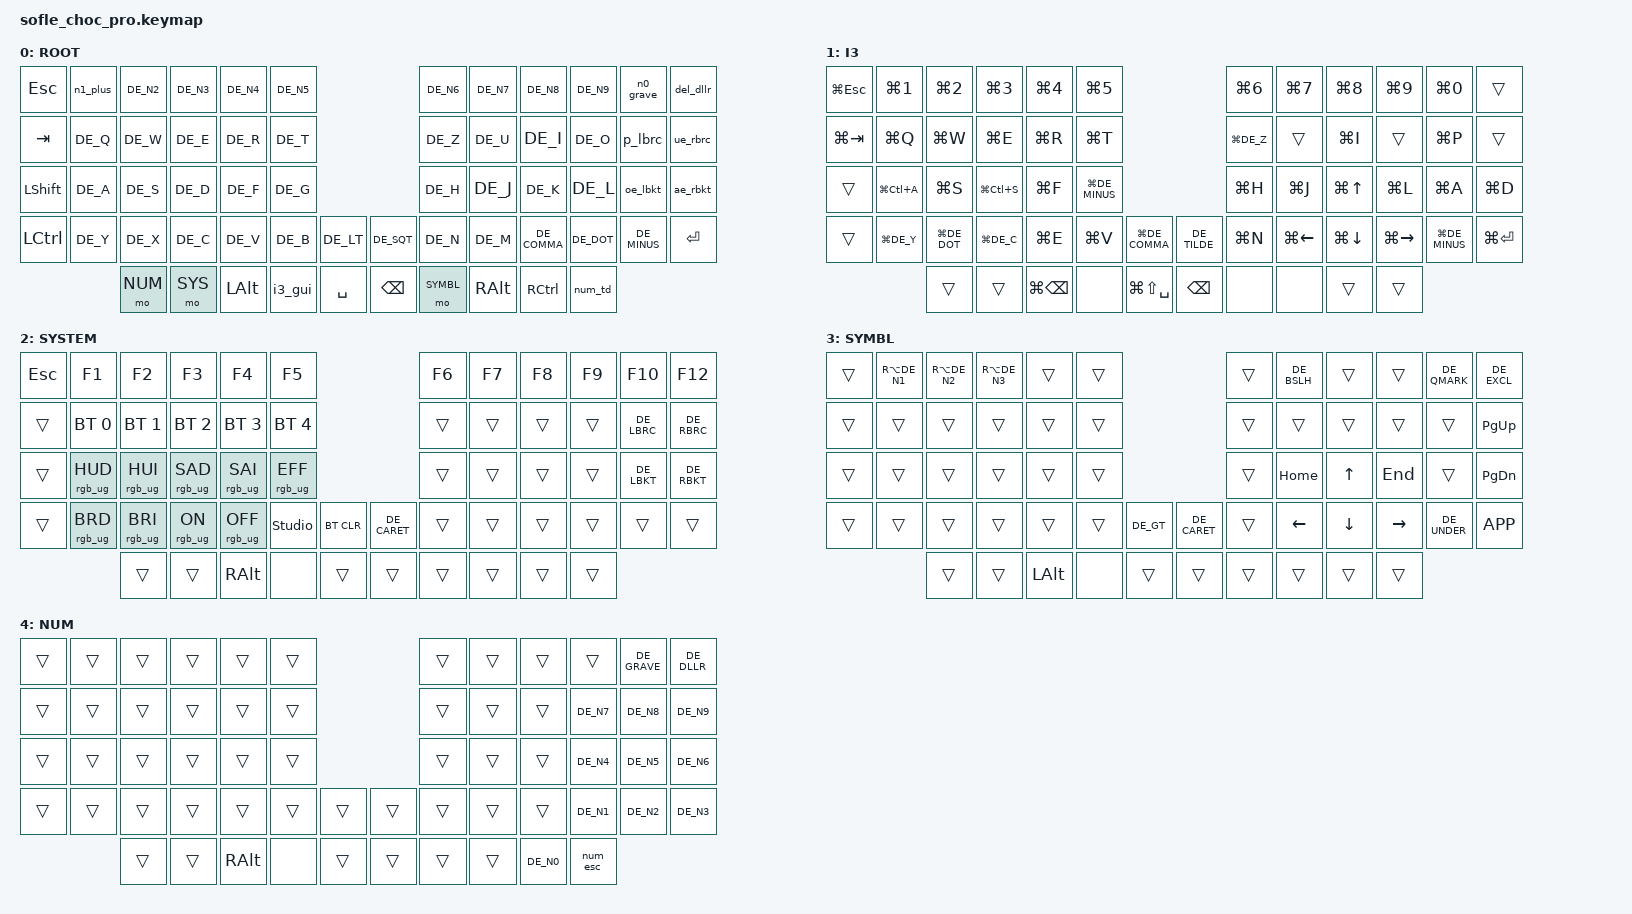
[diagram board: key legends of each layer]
/*
 * Copyright (c) 2020 The ZMK Contributors
 *
 * SPDX-License-Identifier: MIT
 */

#include <behaviors.dtsi>
#include <dt-bindings/zmk/keys.h>
#include <dt-bindings/zmk/bt.h>
#include <dt-bindings/zmk/modifiers.h>
#include <dt-bindings/zmk/rgb.h>
#include <dt-bindings/zmk/ext_power.h>
#include "ch-de.h"

#define ROOT            0
#define I3              1
#define SYS             2
#define SYMBL           3
#define NUM             4

/ {

        behaviors {

                n1_plus: number_1_plus {
                        compatible = "zmk,behavior-mod-morph";
                        #binding-cells = <0>;
                        bindings = <&kp DE_N1>, <&kp KP_PLUS>;
                        mods = <(MOD_LSFT|MOD_RSFT)>;
                };

                n0_grave: number_0_grave {
                        compatible = "zmk,behavior-mod-morph";
                        #binding-cells = <0>;
                        bindings = <&kp DE_N0>, <&kp DE_GRAVE>;
                        mods = <(MOD_RALT)>;
                };

                del_dllr: delete_dollar {
                        compatible = "zmk,behavior-mod-morph";
                        #binding-cells = <0>;
                        bindings = <&kp DEL>, <&kp DE_DLLR>;
                        mods = <(MOD_RALT)>;
                };
                
                p_lbrc: p_left_brace {
                        compatible = "zmk,behavior-mod-morph";
                        #binding-cells = <0>;
                        bindings = <&kp DE_P>, <&kp DE_LBRC>;
                        mods = <(MOD_RALT)>;
                };

                // Shift produces a capital umlaut. CH-DE has no direct Shift
                // capital umlaut, so toggle Caps Lock around the umlaut key.
                // (mod-morph masks the triggering Shift, so the macro is clean.)
                ue_cap: ue_capital {
                        compatible = "zmk,behavior-mod-morph";
                        #binding-cells = <0>;
                        bindings = <&kp DE_U_UMLAUT>, <&ue_cap_macro>;
                        mods = <(MOD_LSFT|MOD_RSFT)>;
                };

                ue_rbrc: ue_right_brace {
                        compatible = "zmk,behavior-mod-morph";
                        #binding-cells = <0>;
                        bindings = <&ue_cap>, <&kp DE_RBRC>;
                        mods = <(MOD_RALT)>;
                };

                oe_cap: oe_capital {
                        compatible = "zmk,behavior-mod-morph";
                        #binding-cells = <0>;
                        bindings = <&kp DE_O_UMLAUT>, <&oe_cap_macro>;
                        mods = <(MOD_LSFT|MOD_RSFT)>;
                };

                oe_lbkt: oe_left_bracket {
                        compatible = "zmk,behavior-mod-morph";
                        #binding-cells = <0>;
                        bindings = <&oe_cap>, <&kp DE_LBKT>;
                        mods = <(MOD_RALT)>;
                };

                ae_cap: ae_capital {
                        compatible = "zmk,behavior-mod-morph";
                        #binding-cells = <0>;
                        bindings = <&kp DE_A_UMLAUT>, <&ae_cap_macro>;
                        mods = <(MOD_LSFT|MOD_RSFT)>;
                };

                ae_rbkt: ae_right_bracket {
                        compatible = "zmk,behavior-mod-morph";
                        #binding-cells = <0>;
                        bindings = <&ae_cap>, <&kp DE_RBKT>;
                        mods = <(MOD_RALT)>;
                };

                ton: toggle_layer_on {
                        compatible = "zmk,behavior-toggle-layer";
                        #binding-cells = <1>;
                        toggle-mode = "on";
                };

                toff: toggle_layer_off {
                        compatible = "zmk,behavior-toggle-layer";
                        #binding-cells = <1>;
                        toggle-mode = "off";
                };

                mo_none: momentary_layer_no_tap {
                        compatible = "zmk,behavior-hold-tap";
                        #binding-cells = <2>;
                        flavor = "hold-preferred";
                        tapping-term-ms = <200>;
                        bindings = <&mo>, <&none>;
                };

                num_td: number_layer_tap_dance {
                        compatible = "zmk,behavior-tap-dance";
                        #binding-cells = <0>;
                        tapping-term-ms = <200>;
                        bindings = <&mo_none NUM 0>, <&ton NUM>;
                };

        };

        macros {
                ue_cap_macro: ue_cap_macro {
                        compatible = "zmk,behavior-macro";
                        #binding-cells = <0>;
                        bindings = <&kp CAPS>, <&kp DE_U_UMLAUT>, <&kp CAPS>;
                };

                oe_cap_macro: oe_cap_macro {
                        compatible = "zmk,behavior-macro";
                        #binding-cells = <0>;
                        bindings = <&kp CAPS>, <&kp DE_O_UMLAUT>, <&kp CAPS>;
                };

                ae_cap_macro: ae_cap_macro {
                        compatible = "zmk,behavior-macro";
                        #binding-cells = <0>;
                        bindings = <&kp CAPS>, <&kp DE_A_UMLAUT>, <&kp CAPS>;
                };

                num_esc: number_layer_escape {
                        compatible = "zmk,behavior-macro";
                        #binding-cells = <0>;
                        bindings = <&toff NUM>;
                };

                i3_gui: i3_gui {
                        compatible = "zmk,behavior-macro";
                        #binding-cells = <0>;
                        wait-ms = <0>;
                        tap-ms = <0>;
                        bindings = <&macro_press &mo I3 &kp LGUI>, <&macro_pause_for_release>, <&macro_release &kp LGUI &mo I3>;
                };
        };

        keymap {
                compatible = "zmk,keymap";

                root_layer {
                        display-name = "ROOT";
                        bindings = <
        &kp ESC      &n1_plus          &kp DE_N2         &kp DE_N3         &kp DE_N4         &kp DE_N5                                            &kp DE_N6        &kp DE_N7       &kp DE_N8         &kp DE_N9          &n0_grave           &del_dllr
        &kp TAB      &kp DE_Q          &kp DE_W          &kp DE_E          &kp DE_R          &kp DE_T                                             &kp DE_Z         &kp DE_U        &kp DE_I          &kp DE_O           &p_lbrc             &ue_rbrc
        &kp LSHFT    &kp DE_A          &kp DE_S          &kp DE_D          &kp DE_F          &kp DE_G                                             &kp DE_H         &kp DE_J        &kp DE_K          &kp DE_L           &oe_lbkt            &ae_rbkt
        &kp LCTRL    &kp DE_Y          &kp DE_X          &kp DE_C          &kp DE_V          &kp DE_B         &kp DE_LT          &kp DE_SQT       &kp DE_N         &kp DE_M        &kp DE_COMMA      &kp DE_DOT         &kp DE_MINUS        &kp RET
                                       &mo NUM           &mo SYS           &kp LALT          &i3_gui          &kp SPACE          &kp BACKSPACE    &mo SYMBL        &kp RALT        &kp RCTRL         &num_td
                        >;
                };

                i3_layer {
                        display-name = "I3";
                        bindings = <
        &kp LG(ESC)  &kp LG(N1)        &kp LG(N2)        &kp LG(N3)        &kp LG(N4)        &kp LG(N5)                                            &kp LG(N6)       &kp LG(N7)      &kp LG(N8)        &kp LG(N9)         &kp LG(N0)           &trans
        &kp LG(TAB)  &kp LG(Q)         &kp LG(W)         &kp LG(E)         &kp LG(R)         &kp LG(T)                                             &kp LG(DE_Z)     &trans          &kp LG(I)         &trans             &kp LG(P)            &trans
        &trans       &kp LG(LC(A))     &kp LG(S)         &kp LG(LC(S))     &kp LG(F)         &kp LG(DE_MINUS)                                      &kp LG(H)        &kp LG(J)       &kp LG(UP)        &kp LG(L)          &kp LG(A)            &kp LG(D)
        &trans       &kp LG(DE_Y)      &kp LG(DE_DOT)    &kp LG(DE_C)      &kp LG(E)         &kp LG(V)         &kp LG(DE_COMMA)   &kp DE_TILDE     &kp LG(N)        &kp LG(LEFT)    &kp LG(DOWN)      &kp LG(RIGHT)      &kp LG(DE_MINUS)     &kp LG(RET)
                                       &trans            &trans            &kp LG(BACKSPACE) &none             &kp LG(LS(SPACE))  &kp BACKSPACE    &none            &none           &trans            &trans
                        >;
                };

                system_layer {
                        display-name = "SYSTEM";
                        bindings = <
        &kp ESC      &kp F1            &kp F2            &kp F3            &kp F4            &kp F5                                                &kp F6           &kp F7          &kp F8            &kp F9             &kp F10              &kp F12
        &trans       &bt BT_SEL 0      &bt BT_SEL 1      &bt BT_SEL 2      &bt BT_SEL 3      &bt BT_SEL 4                                          &trans           &trans          &trans            &trans             &kp DE_LBRC          &kp DE_RBRC
        &trans       &rgb_ug RGB_HUD   &rgb_ug RGB_HUI   &rgb_ug RGB_SAD   &rgb_ug RGB_SAI   &rgb_ug RGB_EFF                                       &trans           &trans          &trans            &trans             &kp DE_LBKT          &kp DE_RBKT
        &trans       &rgb_ug RGB_BRD   &rgb_ug RGB_BRI   &rgb_ug RGB_ON    &rgb_ug RGB_OFF   &studio_unlock    &bt BT_CLR         &kp DE_CARET     &trans           &trans          &trans            &trans             &trans               &trans
                                       &trans            &trans            &kp RALT          &none             &trans             &trans           &trans           &trans          &trans            &trans
                        >;
                };

                symbol_layer {
                        display-name = "SYMBL";
                        bindings = <
                
        &trans       &kp RA(DE_N1)     &kp RA(DE_N2)     &kp RA(DE_N3)     &trans            &trans                                                &trans           &kp DE_BSLH     &trans            &trans             &kp DE_QMARK         &kp DE_EXCL
        &trans       &trans            &trans            &trans            &trans            &trans                                                &trans           &trans          &trans            &trans             &trans               &kp PG_UP
        &trans       &trans            &trans            &trans            &trans            &trans                                                &trans           &kp HOME        &kp UP            &kp END            &trans               &kp PG_DN
        &trans       &trans            &trans            &trans            &trans            &trans            &kp DE_GT          &kp DE_CARET     &trans           &kp LEFT        &kp DOWN          &kp RIGHT          &kp DE_UNDER         &kp K_APP
                                       &trans            &trans            &kp LALT          &none             &trans             &trans           &trans           &trans          &trans            &trans
                        >;
                };

                number_layer {
                        display-name = "NUM";
                        bindings = <
        &trans       &trans            &trans            &trans            &trans            &trans                                                &trans           &trans          &trans            &trans             &kp DE_GRAVE         &kp DE_DLLR
        &trans       &trans            &trans            &trans            &trans            &trans                                                &trans           &trans          &trans            &kp DE_N7          &kp DE_N8            &kp DE_N9
        &trans       &trans            &trans            &trans            &trans            &trans                                                &trans           &trans          &trans            &kp DE_N4          &kp DE_N5            &kp DE_N6
        &trans       &trans            &trans            &trans            &trans            &trans            &trans             &trans           &trans           &trans          &trans            &kp DE_N1          &kp DE_N2            &kp DE_N3
                                       &trans            &trans            &kp RALT          &none             &trans             &trans           &trans           &trans          &kp DE_N0         &num_esc
                        >;
                };




        };
};
